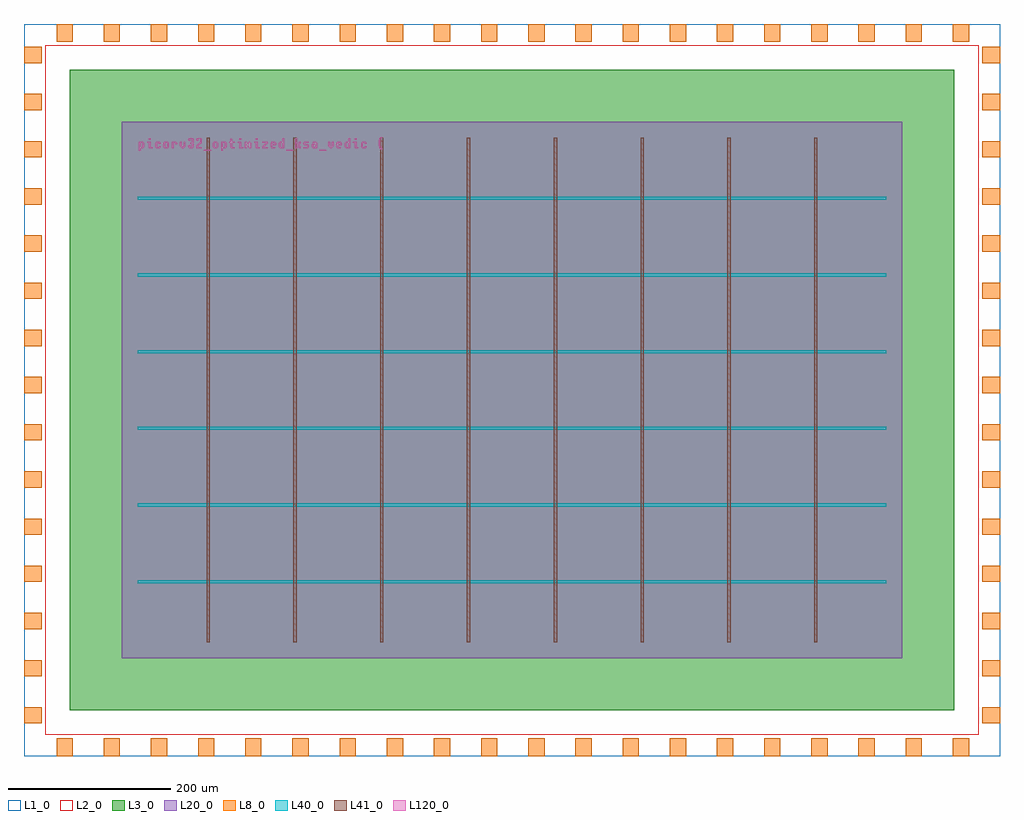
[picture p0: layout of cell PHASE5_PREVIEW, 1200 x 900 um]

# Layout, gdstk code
import gdstk
lib = gdstk.Library(unit=1e-6, precision=1e-09)
def R(c, l, rs):  # rectangles x0, y0, x1, y1
    for r in rs: c.add(gdstk.rectangle(r[:2], r[2:], *l))
def A(c, l, x, y, w, h, nx, ny, dx, dy):  # array of equal rectangles
    R(c, l, [(x+i*dx, y+j*dy, x+i*dx+w, y+j*dy+h) for i in range(nx) for j in range(ny)])
def P(c, l, *ps):  # polygons
    for p in ps: c.add(gdstk.Polygon(p, *l))
L1_0 = (1, 0)
L2_0 = (2, 0)
L3_0 = (3, 0)
L8_0 = (8, 0)
L20_0 = (20, 0)
L40_0 = (40, 0)
L41_0 = (41, 0)
L120_0 = (120, 0)

phase5_preview = lib.new_cell('PHASE5_PREVIEW')
R(phase5_preview, L1_0, [(0,0,1200,900)])
R(phase5_preview, L2_0, [(26,26,1174,874)])
R(phase5_preview, L3_0, [(56,56,1144,844)])
A(phase5_preview, L8_0, 40, 0, 20, 22, 20, 2, 58, 878)
A(phase5_preview, L8_0, 0, 40, 22, 20, 1, 15, 0, 58)
A(phase5_preview, L8_0, 1178, 40, 22, 20, 1, 15, 0, 58)
R(phase5_preview, L20_0, [(120,120,1080,780)])
A(phase5_preview, L40_0, 140, 306.571, 920, 4, 1, 4, 0, 94.286)
R(phase5_preview, L40_0, [(140,212.286,1060,216.286), (140,683.714,1060,687.714)])
A(phase5_preview, L41_0, 331.333, 140, 4, 620, 3, 1, 106.667, 0)
A(phase5_preview, L41_0, 651.333, 140, 4, 620, 3, 1, 106.667, 0)
R(phase5_preview, L41_0, [(224.667,140,228.667,760), (971.333,140,975.333,760)])
R(phase5_preview, L120_0, [(221,744,230,745.125), (322.25,744,331.25,745.125), (362.75,744,371.75,745.125), (153.5,757.5,155.75,759.75), (264.875,757.5,267.125,759.75), (285.125,757.5,287.375,759.75), (406.625,757.5,408.875,759.75)])
P(phase5_preview, L120_0, [(143.375,744),(143.375,747.375),(146.75,747.375),(146.75,748.5),(147.875,748.5),(147.875,754.125),(146.75,754.125),(146.75,755.25),(141.125,755.25),(141.125,748.5),(143.375,748.5),(143.375,754.125),(145.625,754.125),(145.625,748.5),(143.375,748.5),(141.125,748.5),(141.125,744)],
  [(153.5,747.375),(158,747.375),(158,748.5),(155.75,748.5),(155.75,755.25),(151.25,755.25),(151.25,754.125),(153.5,754.125)],
  [(161.375,748.5),(162.5,748.5),(162.5,747.375),(167,747.375),(167,748.5),(168.125,748.5),(168.125,749.625),(165.875,749.625),(165.875,748.5),(163.625,748.5),(163.625,754.125),(165.875,754.125),(165.875,753),(168.125,753),(168.125,754.125),(167,754.125),(167,755.25),(162.5,755.25),(162.5,754.125),(161.375,754.125)],
  [(178.25,754.125),(177.125,754.125),(177.125,755.25),(172.625,755.25),(172.625,754.125),(171.5,754.125),(171.5,748.5),(173.75,748.5),(173.75,754.125),(176,754.125),(176,748.5),(173.75,748.5),(171.5,748.5),(172.625,748.5),(172.625,747.375),(177.125,747.375),(177.125,748.5),(178.25,748.5)],
  [(183.875,747.375),(183.875,754.125),(186.125,754.125),(186.125,751.875),(188.375,751.875),(188.375,754.125),(187.25,754.125),(187.25,755.25),(181.625,755.25),(181.625,747.375)],
  [(192.875,749.625),(192.875,748.5),(194,748.5),(194,747.375),(196.25,747.375),(196.25,748.5),(197.375,748.5),(197.375,749.625),(198.5,749.625),(198.5,755.25),(196.25,755.25),(196.25,749.625),(194,749.625),(194,755.25),(191.75,755.25),(191.75,749.625)],
  [(203,748.5),(203,747.375),(207.5,747.375),(207.5,748.5),(208.625,748.5),(208.625,753),(207.5,753),(207.5,754.125),(208.625,754.125),(208.625,758.625),(207.5,758.625),(207.5,759.75),(203,759.75),(203,758.625),(201.875,758.625),(201.875,756.375),(204.125,756.375),(204.125,758.625),(206.375,758.625),(206.375,754.125),(204.125,754.125),(204.125,753),(206.375,753),(206.375,748.5),(204.125,748.5),(204.125,750.75),(201.875,750.75),(201.875,748.5)],
  [(212,756.375),(214.25,756.375),(214.25,758.625),(216.5,758.625),(216.5,754.125),(215.375,754.125),(215.375,753),(214.25,753),(214.25,751.875),(213.125,751.875),(213.125,750.75),(212,750.75),(212,747.375),(218.75,747.375),(218.75,748.5),(214.25,748.5),(214.25,750.75),(215.375,750.75),(215.375,751.875),(216.5,751.875),(216.5,753),(217.625,753),(217.625,754.125),(218.75,754.125),(218.75,758.625),(217.625,758.625),(217.625,759.75),(213.125,759.75),(213.125,758.625),(212,758.625)],
  [(239,754.125),(237.875,754.125),(237.875,755.25),(233.375,755.25),(233.375,754.125),(232.25,754.125),(232.25,748.5),(234.5,748.5),(234.5,754.125),(236.75,754.125),(236.75,748.5),(234.5,748.5),(232.25,748.5),(233.375,748.5),(233.375,747.375),(237.875,747.375),(237.875,748.5),(239,748.5)],
  [(244.625,744),(244.625,747.375),(248,747.375),(248,748.5),(249.125,748.5),(249.125,754.125),(248,754.125),(248,755.25),(242.375,755.25),(242.375,748.5),(244.625,748.5),(244.625,754.125),(246.875,754.125),(246.875,748.5),(244.625,748.5),(242.375,748.5),(242.375,744)],
  [(252.5,755.25),(252.5,754.125),(253.625,754.125),(253.625,748.5),(254.75,748.5),(254.75,747.375),(259.25,747.375),(259.25,748.5),(255.875,748.5),(255.875,754.125),(259.25,754.125),(259.25,755.25),(255.875,755.25),(255.875,758.625),(253.625,758.625),(253.625,755.25)],
  [(264.875,747.375),(269.375,747.375),(269.375,748.5),(267.125,748.5),(267.125,755.25),(262.625,755.25),(262.625,754.125),(264.875,754.125)],
  [(273.875,747.375),(273.875,753),(275,753),(275,748.5),(276.125,748.5),(276.125,753),(277.25,753),(277.25,747.375),(279.5,747.375),(279.5,754.125),(278.375,754.125),(278.375,755.25),(276.125,755.25),(276.125,754.125),(273.875,754.125),(273.875,755.25),(271.625,755.25),(271.625,747.375)],
  [(285.125,747.375),(289.625,747.375),(289.625,748.5),(287.375,748.5),(287.375,755.25),(282.875,755.25),(282.875,754.125),(285.125,754.125)],
  [(297.5,753),(296.375,753),(296.375,751.875),(295.25,751.875),(295.25,750.75),(294.125,750.75),(294.125,749.625),(293,749.625),(293,747.375),(299.75,747.375),(299.75,748.5),(295.25,748.5),(295.25,749.625),(296.375,749.625),(296.375,750.75),(297.5,750.75),(297.5,751.875),(298.625,751.875),(298.625,753),(299.75,753),(299.75,755.25),(293,755.25),(293,754.125),(297.5,754.125)],
  [(304.25,748.5),(304.25,747.375),(308.75,747.375),(308.75,748.5),(305.375,748.5),(305.375,750.75),(309.875,750.75),(309.875,754.125),(308.75,754.125),(308.75,755.25),(304.25,755.25),(304.25,754.125),(303.125,754.125),(303.125,751.875),(305.375,751.875),(305.375,754.125),(307.625,754.125),(307.625,751.875),(305.375,751.875),(303.125,751.875),(303.125,748.5)],
  [(317.75,759.75),(317.75,755.25),(314.375,755.25),(314.375,754.125),(313.25,754.125),(313.25,748.5),(315.5,748.5),(315.5,754.125),(317.75,754.125),(317.75,748.5),(315.5,748.5),(313.25,748.5),(314.375,748.5),(314.375,747.375),(320,747.375),(320,759.75)],
  [(335.75,747.375),(335.75,750.75),(336.875,750.75),(336.875,749.625),(338,749.625),(338,747.375),(340.25,747.375),(340.25,749.625),(339.125,749.625),(339.125,750.75),(338,750.75),(338,751.875),(339.125,751.875),(339.125,753),(340.25,753),(340.25,755.25),(338,755.25),(338,753),(336.875,753),(336.875,751.875),(335.75,751.875),(335.75,759.75),(333.5,759.75),(333.5,747.375)],
  [(343.625,751.875),(344.75,751.875),(344.75,750.75),(348.125,750.75),(348.125,748.5),(343.625,748.5),(343.625,747.375),(349.25,747.375),(349.25,748.5),(350.375,748.5),(350.375,750.75),(349.25,750.75),(349.25,751.875),(345.875,751.875),(345.875,754.125),(350.375,754.125),(350.375,755.25),(344.75,755.25),(344.75,754.125),(343.625,754.125)],
  [(359.375,754.125),(359.375,755.25),(354.875,755.25),(354.875,754.125),(358.25,754.125),(358.25,753),(354.875,753),(354.875,751.875),(353.75,751.875),(353.75,748.5),(356,748.5),(356,751.875),(358.25,751.875),(358.25,748.5),(356,748.5),(353.75,748.5),(354.875,748.5),(354.875,747.375),(360.5,747.375),(360.5,754.125)],
  [(375.125,749.625),(375.125,748.5),(376.25,748.5),(376.25,747.375),(378.5,747.375),(378.5,748.5),(379.625,748.5),(379.625,749.625),(380.75,749.625),(380.75,755.25),(378.5,755.25),(378.5,749.625),(376.25,749.625),(376.25,755.25),(374,755.25),(374,749.625)],
  [(385.25,748.5),(385.25,747.375),(389.75,747.375),(389.75,748.5),(386.375,748.5),(386.375,750.75),(390.875,750.75),(390.875,754.125),(389.75,754.125),(389.75,755.25),(385.25,755.25),(385.25,754.125),(384.125,754.125),(384.125,751.875),(386.375,751.875),(386.375,754.125),(388.625,754.125),(388.625,751.875),(386.375,751.875),(384.125,751.875),(384.125,748.5)],
  [(398.75,759.75),(398.75,755.25),(395.375,755.25),(395.375,754.125),(394.25,754.125),(394.25,748.5),(396.5,748.5),(396.5,754.125),(398.75,754.125),(398.75,748.5),(396.5,748.5),(394.25,748.5),(395.375,748.5),(395.375,747.375),(401,747.375),(401,759.75)],
  [(406.625,747.375),(411.125,747.375),(411.125,748.5),(408.875,748.5),(408.875,755.25),(404.375,755.25),(404.375,754.125),(406.625,754.125)],
  [(414.5,748.5),(415.625,748.5),(415.625,747.375),(420.125,747.375),(420.125,748.5),(421.25,748.5),(421.25,749.625),(419,749.625),(419,748.5),(416.75,748.5),(416.75,754.125),(419,754.125),(419,753),(421.25,753),(421.25,754.125),(420.125,754.125),(420.125,755.25),(415.625,755.25),(415.625,754.125),(414.5,754.125)],
  [(437,757.5),(435.875,757.5),(435.875,749.625),(437,749.625),(437,747.375),(438.125,747.375),(438.125,746.25),(440.375,746.25),(440.375,747.375),(439.25,747.375),(439.25,749.625),(438.125,749.625),(438.125,757.5),(439.25,757.5),(439.25,759.75),(440.375,759.75),(440.375,760.875),(438.125,760.875),(438.125,759.75),(437,759.75)])

lib.write_gds('PHASE5_PREVIEW.gds')
